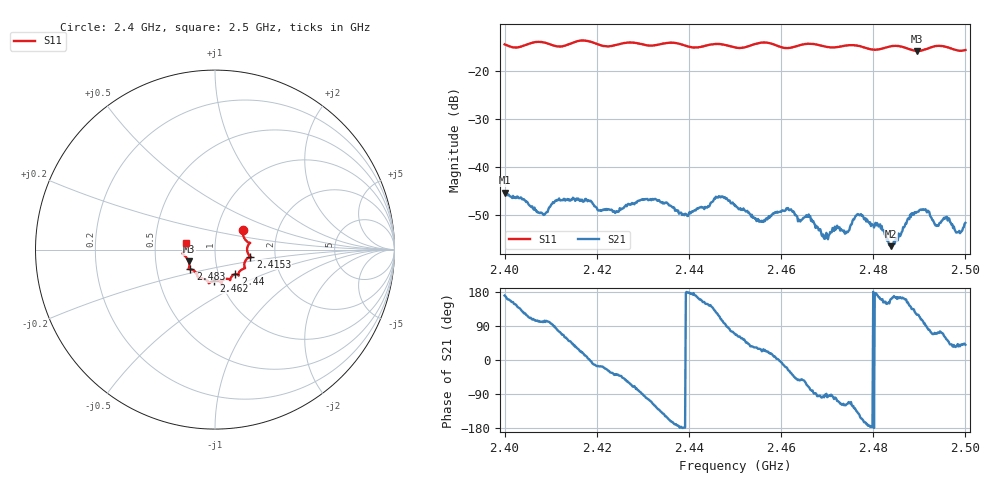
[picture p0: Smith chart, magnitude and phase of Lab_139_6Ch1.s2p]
# Hz S RI R 50
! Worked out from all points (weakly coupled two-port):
!   601 points, 2.4 GHz to 2.5 GHz, reference 50 ohm
!   highest |S21| = -45.36 dB at 2.4 GHz (marker M1); lowest = -56.5 dB at 2.4838 GHz (marker M2)
!   lowest |S11| = -15.9 dB at 2.4895 GHz (marker M3), VSWR 1.38, Z = 36.9 - j4.99 ohm
!   |S11| at or under -10 dB: start of sweep to end of sweep
!   S12 and S22 are empty: the file has one direction only
!   S11 on the Smith chart (normalised r, x): 2.4 GHz: 1.33, +0.29; 2.4153 GHz: 1.48, -0.12; 2.44 GHz: 1.20, -0.34; 2.462 GHz: 0.93, -0.33; 2.483 GHz: 0.74, -0.17; 2.5 GHz: 0.72, +0.06
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2.4e9  0.1553 0.1068  -0.00531 0.000931  0 0  0 0
2.408167e9  0.1951 0.0371  -0.000656 0.00323  0 0  0 0
2.415333e9  0.1965 -0.0387  0.00365 0.00252  0 0  0 0
2.416667e9  0.2021 -0.0428  0.00415 0.00154  0 0  0 0
2.424e9  0.1626 -0.0874  0.00265 -0.00201  0 0  0 0
2.433333e9  0.1312 -0.1335  -0.00287 -0.00339  0 0  0 0
2.44e9  0.1139 -0.1369  -0.0033 0.000104  0 0  0 0
2.446333e9  0.0847 -0.1703  -0.00232 0.00421  0 0  0 0
2.45e9  0.0646 -0.1626  0.00141 0.00366  0 0  0 0
2.455667e9  0.0376 -0.1925  0.00239 0.00123  0 0  0 0
2.462e9  -0.00512 -0.1732  0.00301 -0.00196  0 0  0 0
2.466667e9  -0.0344 -0.1877  0.000445 -0.00281  0 0  0 0
2.469833e9  -0.0465 -0.1713  2.82e-05 -0.00206  0 0  0 0
2.474333e9  -0.0894 -0.1606  -0.000911 -0.00188  0 0  0 0
2.477167e9  -0.0966 -0.152  -0.00275 -0.00154  0 0  0 0
2.483e9  -0.1377 -0.1095  -0.00145 0.000899  0 0  0 0
2.483333e9  -0.1403 -0.1093  -0.00143 0.000758  0 0  0 0
2.483833e9  -0.1432 -0.109  -0.00142 0.000486  0 0  0 0
2.4895e9  -0.1465 -0.0658  -0.00166 0.00298  0 0  0 0
2.496e9  -0.1756 -0.0148  0.00179 0.00245  0 0  0 0
2.498333e9  -0.1623 0.0109  0.00155 0.00141  0 0  0 0
2.5e9  -0.1597 0.0393  0.002 0.00169  0 0  0 0
